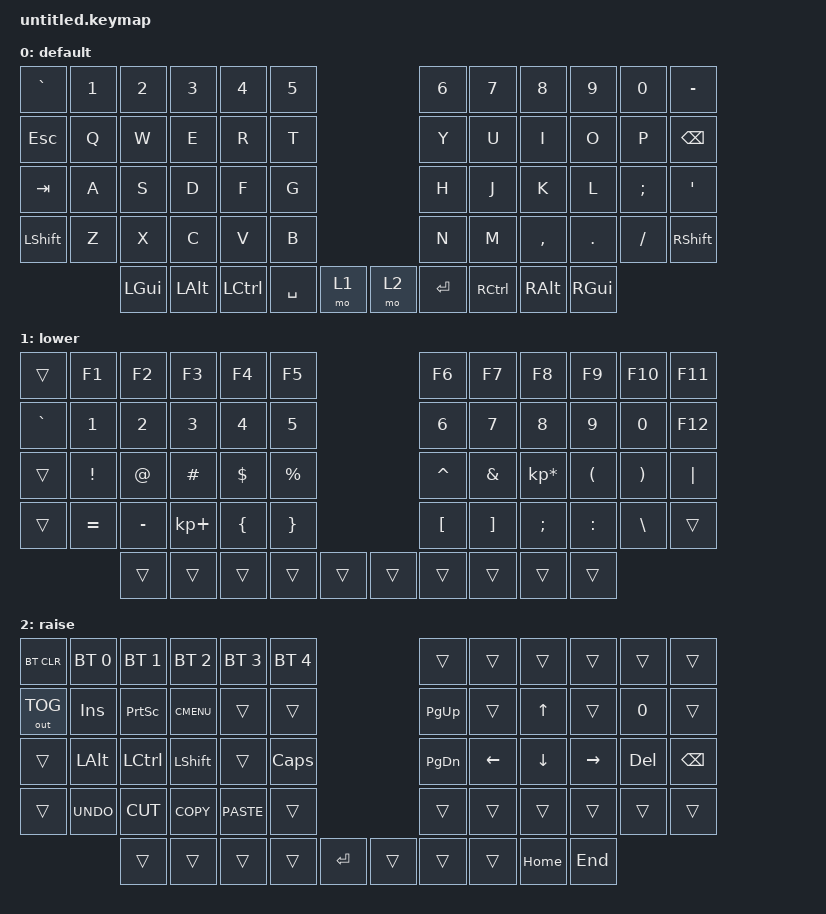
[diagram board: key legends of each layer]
/*
 * Copyright (c) 2020 The ZMK Contributors
 *
 * SPDX-License-Identifier: MIT
 */

#include <behaviors.dtsi>
#include <dt-bindings/zmk/keys.h>
#include <dt-bindings/zmk/bt.h>
#include <dt-bindings/zmk/outputs.h>

/ {
    keymap {
        compatible = "zmk,keymap";

        default_layer {
            display-name = "default";
// ------------------------------------------------------------------------------------------------------------
// |  `    |  1  |  2  |  3   |  4   |  5   |                   |  6   |  7    |  8    |  9   |   0   |   -   |
// |  ESC  |  Q  |  W  |  E   |  R   |  T   |                   |  Y   |  U    |  I    |  O   |   P   | BKSPC |
// |  TAB  |  A  |  S  |  D   |  F   |  G   |                   |  H   |  J    |  K    |  L   |   ;   |   '   |
// | SHIFT |  Z  |  X  |  C   |  V   |  B   |  MUTE  |  |       |  N   |  M    |  ,    |  .   |   /   | SHIFT |
//               | GUI | ALT  | CTRL | LOWER|  SPACE |  | SPACE | RAISE| CTRL  | ALT   | GUI  |
            bindings = <
&kp GRAVE &kp N1 &kp N2   &kp N3   &kp N4    &kp N5                      &kp N6 &kp N7    &kp N8    &kp N9   &kp N0   &kp MINUS
&kp ESC   &kp Q  &kp W    &kp E    &kp R     &kp T                       &kp Y  &kp U     &kp I     &kp O    &kp P    &kp BSPC
&kp TAB   &kp A  &kp S    &kp D    &kp F     &kp G                       &kp H  &kp J     &kp K     &kp L    &kp SEMI &kp SQT
&kp LSHFT &kp Z  &kp X    &kp C    &kp V     &kp B                       &kp N  &kp M     &kp COMMA &kp DOT  &kp FSLH &kp RSHFT
                 &kp LGUI &kp LALT &kp LCTRL &kp SPACE  &mo 1    &mo 2 &kp RET  &kp RCTRL &kp RALT  &kp RGUI
            >;

        };

        lower_layer {
            display-name = "lower";
// TODO: Some binds are waiting for shifted keycode support.
// ------------------------------------------------------------------------------------------------------------
// |       |  F1 |  F2 |  F3  |  F4  |  F5  |                   |  F6  |  F7   |  F8   |  F9  |  F10  |  F11  |
// | `     |   1 |   2 |   3  |   4  |   5  |                   |   6  |   7   |   8   |   9  |    0  |  F12  |
// |       |  !  |  @  |  #   |  $   |  %   |                   |  ^   |  &    |  *    |  (   |   )   |   |   |
// |       |  =  |  -  |  +   |  {   |  }   |        |  |       |  [   |  ]    |  ;    |  :   |   \   |       |
//               |     |      |      |      |        |  | ENTER |      |       |       |      |
            bindings = <
&trans    &kp F1    &kp F2    &kp F3      &kp F4    &kp F5                    &kp F6    &kp F7   &kp F8          &kp F9    &kp F10   &kp F11
&kp GRAVE &kp N1    &kp N2    &kp N3      &kp N4    &kp N5                    &kp N6    &kp N7   &kp N8          &kp N9    &kp N0    &kp F12
&trans    &kp EXCL  &kp AT    &kp HASH    &kp DLLR  &kp PRCNT                 &kp CARET &kp AMPS &kp KP_MULTIPLY &kp LPAR  &kp RPAR  &kp PIPE
&trans    &kp EQUAL &kp MINUS &kp KP_PLUS &kp LBRC  &kp RBRC                  &kp LBKT  &kp RBKT &kp SEMI        &kp COLON &kp BSLH  &trans
                    &trans    &trans      &trans    &trans    &trans   &trans &trans    &trans   &trans          &trans
            >;

        };

        raise_layer {
            display-name = "raise";
// ------------------------------------------------------------------------------------------------------------
// |BTCLR| BT1  | BT2  |  BT3  |  BT4  |  BT5 |                |      |      |       |      |       |       |
// |     | INS  | PSCR | GUI   |       |      |                | PGUP |      |   ^   |      |       |       |
// |     | ALT  | CTRL | SHIFT |       | CAPS |                | PGDN |   <- |   v   |  ->  |  DEL  | BKSPC |
// |     | UNDO | CUT  | COPY  | PASTE |      |      |  |      |      |      |       |      |       |       |
//              |      |       |       |      | ENTER|  |      |      |      | HOME  | END  |
            bindings = <
&bt BT_CLR   &bt BT_SEL 0 &bt BT_SEL 1 &bt BT_SEL 2 &bt BT_SEL 3 &bt BT_SEL 4             &trans    &trans    &trans   &trans    &trans  &trans
&out OUT_TOG &kp INS      &kp PSCRN    &kp K_CMENU  &trans       &trans                   &kp PG_UP &trans    &kp UP   &trans    &kp N0  &trans
&trans       &kp LALT     &kp LCTRL    &kp LSHFT    &trans       &kp CLCK                 &kp PG_DN &kp LEFT  &kp DOWN &kp RIGHT &kp DEL &kp BSPC
&trans       &kp K_UNDO   &kp K_CUT    &kp K_COPY   &kp K_PASTE  &trans                   &trans    &trans    &trans   &trans    &trans  &trans
                        &trans       &trans       &trans       &trans  &kp RET   &trans  &trans    &trans    &kp HOME   &kp END
            >;

        };
    };
};
